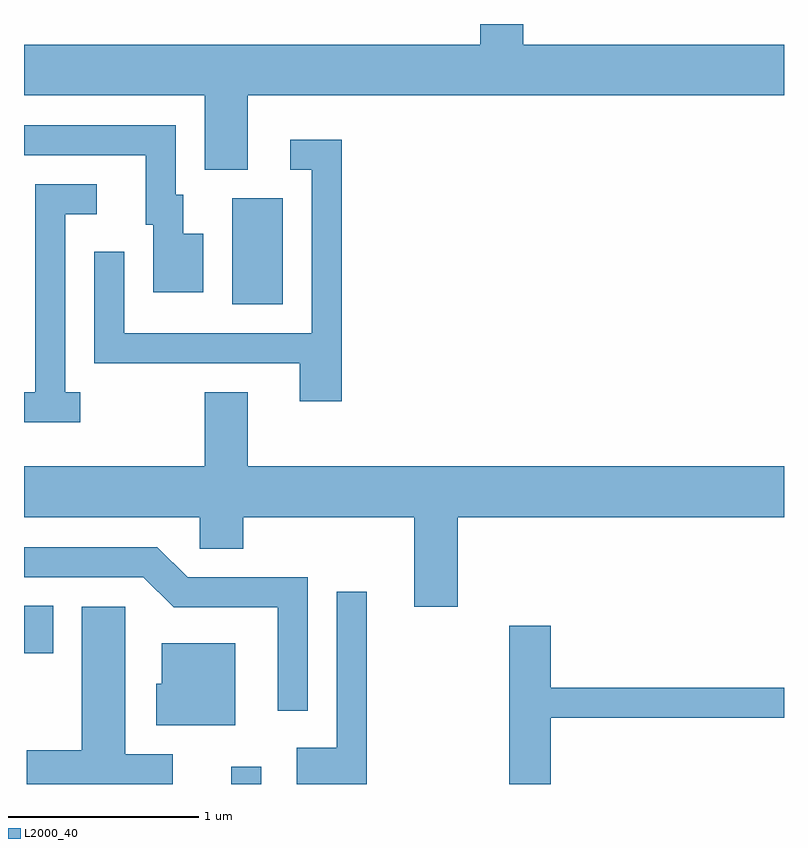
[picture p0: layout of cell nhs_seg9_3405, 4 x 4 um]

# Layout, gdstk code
import gdstk
lib = gdstk.Library(unit=1e-6, precision=1e-09)
def R(c, l, rs):  # rectangles x0, y0, x1, y1
    for r in rs: c.add(gdstk.rectangle(r[:2], r[2:], *l))
def P(c, l, *ps):  # polygons
    for p in ps: c.add(gdstk.Polygon(p, *l))
L2000_40 = (2000, 40)

nhs_seg9_3405 = lib.new_cell('nhs_seg9_3405')
R(nhs_seg9_3405, L2000_40, [(286.701,1970.432,286.859,1970.523), (285.611,1971.121,285.764,1971.369), (286.706,1972.956,286.974,1973.514)])
P(nhs_seg9_3405, L2000_40, [(285.611,1974.056),(286.561,1974.056),(286.561,1973.666),(286.789,1973.666),(286.789,1974.056),(289.611,1974.056),(289.611,1974.324),(288.239,1974.324),(288.239,1974.432),(288.011,1974.432),(288.011,1974.324),(285.611,1974.324)],
  [(286.554,1973.329),(286.449,1973.329),(286.449,1973.534),(286.409,1973.534),(286.409,1973.899),(285.611,1973.899),(285.611,1973.741),(286.251,1973.741),(286.251,1973.376),(286.291,1973.376),(286.291,1973.021),(286.554,1973.021)],
  [(287.284,1973.824),(287.013,1973.824),(287.013,1973.666),(287.126,1973.666),(287.126,1972.804),(286.139,1972.804),(286.139,1973.233),(285.981,1973.233),(285.981,1972.646),(287.061,1972.646),(287.061,1972.446),(287.284,1972.446)],
  [(285.908,1972.494),(285.829,1972.494),(285.829,1973.431),(285.993,1973.431),(285.993,1973.589),(285.671,1973.589),(285.671,1972.494),(285.611,1972.494),(285.611,1972.336),(285.908,1972.336)],
  [(287.894,1971.836),(289.611,1971.836),(289.611,1972.104),(286.789,1972.104),(286.789,1972.494),(286.561,1972.494),(286.561,1972.104),(285.611,1972.104),(285.611,1971.836),(286.536,1971.836),(286.536,1971.671),(286.764,1971.671),(286.764,1971.836),(287.666,1971.836),(287.666,1971.366),(287.894,1971.366)],
  [(287.104,1971.519),(286.472,1971.519),(286.312,1971.679),(285.611,1971.679),(285.611,1971.521),(286.239,1971.521),(286.399,1971.361),(286.946,1971.361),(286.946,1970.818),(287.104,1970.818)],
  [(287.414,1971.443),(287.256,1971.443),(287.256,1970.624),(287.046,1970.624),(287.046,1970.432),(287.414,1970.432)],
  [(286.394,1970.589),(286.144,1970.589),(286.144,1971.364),(285.916,1971.364),(285.916,1970.609),(285.626,1970.609),(285.626,1970.432),(286.394,1970.432)],
  [(288.384,1970.781),(289.611,1970.781),(289.611,1970.939),(288.384,1970.939),(288.384,1971.264),(288.166,1971.264),(288.166,1970.432),(288.384,1970.432)],
  [(286.724,1971.174),(286.336,1971.174),(286.336,1970.959),(286.306,1970.959),(286.306,1970.741),(286.724,1970.741)])

lib.write_gds('nhs_seg9_3405.gds')
